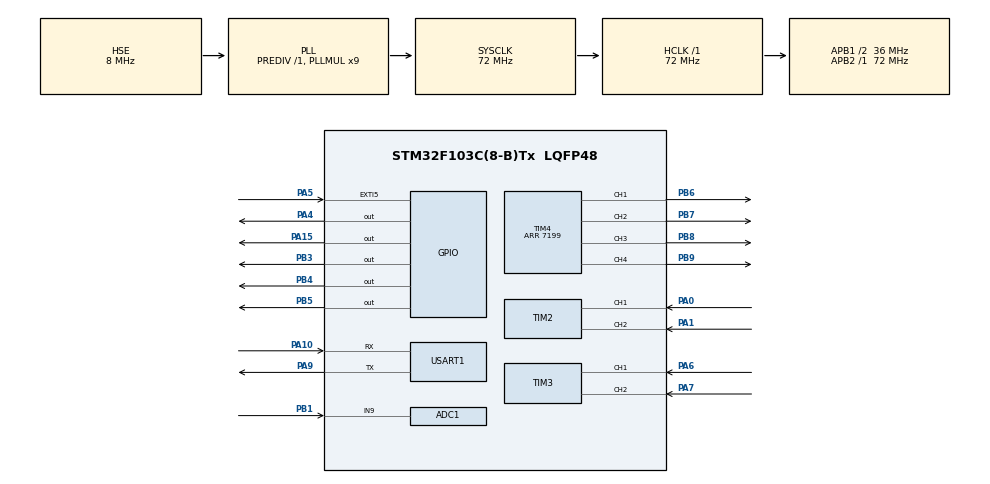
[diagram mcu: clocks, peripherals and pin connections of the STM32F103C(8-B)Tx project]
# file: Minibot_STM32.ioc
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ADC1.Channel-19\#ChannelRegularConversion=ADC_CHANNEL_9
ADC1.ContinuousConvMode=ENABLE
ADC1.EnableInjectedConversion=DISABLE
ADC1.EnableRegularConversion=ENABLE
ADC1.InjNumberOfConversion=0
ADC1.NbrOfConversion=1
ADC1.NbrOfConversionFlag=1
ADC1.Rank-19\#ChannelRegularConversion=1
ADC1.SamplingTime-19\#ChannelRegularConversion=ADC_SAMPLETIME_239CYCLES_5
ADC1.master=1
Dma.ADC1.2.Direction=DMA_PERIPH_TO_MEMORY
Dma.ADC1.2.Instance=DMA1_Channel1
Dma.ADC1.2.MemDataAlignment=DMA_MDATAALIGN_HALFWORD
Dma.ADC1.2.MemInc=DMA_MINC_ENABLE
Dma.ADC1.2.Mode=DMA_NORMAL
Dma.ADC1.2.PeriphDataAlignment=DMA_PDATAALIGN_HALFWORD
Dma.ADC1.2.PeriphInc=DMA_PINC_DISABLE
Dma.ADC1.2.Priority=DMA_PRIORITY_LOW
Dma.Request0=USART1_RX
Dma.Request1=USART1_TX
Dma.Request2=ADC1
Dma.USART1_RX.0.Direction=DMA_PERIPH_TO_MEMORY
Dma.USART1_RX.0.Instance=DMA1_Channel5
Dma.USART1_RX.0.MemDataAlignment=DMA_MDATAALIGN_BYTE
Dma.USART1_RX.0.MemInc=DMA_MINC_ENABLE
Dma.USART1_RX.0.Mode=DMA_NORMAL
Dma.USART1_RX.0.PeriphDataAlignment=DMA_PDATAALIGN_BYTE
Dma.USART1_RX.0.PeriphInc=DMA_PINC_DISABLE
Dma.USART1_RX.0.Priority=DMA_PRIORITY_VERY_HIGH
Dma.USART1_TX.1.Direction=DMA_MEMORY_TO_PERIPH
Dma.USART1_TX.1.Instance=DMA1_Channel4
Dma.USART1_TX.1.MemDataAlignment=DMA_MDATAALIGN_BYTE
Dma.USART1_TX.1.MemInc=DMA_MINC_ENABLE
Dma.USART1_TX.1.Mode=DMA_NORMAL
Dma.USART1_TX.1.PeriphDataAlignment=DMA_PDATAALIGN_BYTE
Dma.USART1_TX.1.PeriphInc=DMA_PINC_DISABLE
Dma.USART1_TX.1.Priority=DMA_PRIORITY_VERY_HIGH
IWDG.Prescaler=IWDG_PRESCALER_32
IWDG.Reload=625
Mcu.Family=STM32F1
Mcu.Name=STM32F103C(8-B)Tx
Mcu.Package=LQFP48
NVIC.DMA1_Channel1_IRQn=true\:0\:0\:false\:false\:true\:false\:true\:true
NVIC.DMA1_Channel4_IRQn=true\:0\:0\:false\:false\:true\:false\:true\:true
NVIC.DMA1_Channel5_IRQn=true\:0\:0\:false\:false\:true\:false\:true\:true
NVIC.EXTI9_5_IRQn=true\:10\:0\:true\:false\:true\:true\:true\:true
NVIC.PriorityGroup=NVIC_PRIORITYGROUP_4
NVIC.TIM1_UP_IRQn=true\:0\:0\:false\:false\:true\:true\:true\:true
NVIC.USART1_IRQn=true\:0\:0\:false\:false\:true\:true\:true\:true
PA0-WKUP.GPIO_PuPd=GPIO_PULLUP
PA0-WKUP.Signal=S_TIM2_CH1_ETR
PA1.GPIO_PuPd=GPIO_PULLUP
PA1.Signal=S_TIM2_CH2
PA10.Mode=Asynchronous
PA10.Signal=USART1_RX
PA13.Mode=Serial_Wire
PA13.Signal=SYS_JTMS-SWDIO
PA14.Mode=Serial_Wire
PA14.Signal=SYS_JTCK-SWCLK
PA15.GPIO_PuPd=GPIO_PULLUP
PA15.GPIO_Speed=GPIO_SPEED_FREQ_HIGH
PA15.PinState=GPIO_PIN_RESET
PA15.Signal=GPIO_Output
PA4.GPIO_PuPd=GPIO_PULLUP
PA4.GPIO_Speed=GPIO_SPEED_FREQ_HIGH
PA4.Signal=GPIO_Output
PA5.GPIO_PuPd=GPIO_NOPULL
PA5.Signal=GPXTI5
PA6.GPIO_PuPd=GPIO_PULLUP
PA6.Signal=S_TIM3_CH1
PA7.GPIO_PuPd=GPIO_PULLUP
PA7.Signal=S_TIM3_CH2
PA9.Mode=Asynchronous
PA9.Signal=USART1_TX
PB1.Signal=ADCx_IN9
PB3.GPIO_PuPd=GPIO_PULLUP
PB3.GPIO_Speed=GPIO_SPEED_FREQ_HIGH
PB3.PinState=GPIO_PIN_RESET
PB3.Signal=GPIO_Output
PB4.GPIO_PuPd=GPIO_PULLUP
PB4.GPIO_Speed=GPIO_SPEED_FREQ_HIGH
PB4.PinState=GPIO_PIN_RESET
PB4.Signal=GPIO_Output
PB5.GPIO_PuPd=GPIO_PULLUP
PB5.GPIO_Speed=GPIO_SPEED_FREQ_HIGH
PB5.PinState=GPIO_PIN_RESET
PB5.Signal=GPIO_Output
PB6.GPIO_Speed=GPIO_SPEED_FREQ_MEDIUM
PB6.Signal=S_TIM4_CH1
PB7.GPIO_Speed=GPIO_SPEED_FREQ_MEDIUM
PB7.Signal=S_TIM4_CH2
PB8.GPIO_Speed=GPIO_SPEED_FREQ_MEDIUM
PB8.Signal=S_TIM4_CH3
PB9.GPIO_Speed=GPIO_SPEED_FREQ_MEDIUM
PB9.Signal=S_TIM4_CH4
PC14-OSC32_IN.Mode=LSE-External-Oscillator
PC14-OSC32_IN.Signal=RCC_OSC32_IN
PC15-OSC32_OUT.Mode=LSE-External-Oscillator
PC15-OSC32_OUT.Signal=RCC_OSC32_OUT
PD0-OSC_IN.Mode=HSE-External-Oscillator
PD0-OSC_IN.Signal=RCC_OSC_IN
PD1-OSC_OUT.Mode=HSE-External-Oscillator
PD1-OSC_OUT.Signal=RCC_OSC_OUT
ProjectManager.HeapSize=0x200
ProjectManager.StackSize=0x400
ProjectManager.TargetToolchain=Makefile
RCC.ADCPresc=RCC_ADCPCLK2_DIV6
RCC.AHBFreq_Value=72000000
RCC.APB1CLKDivider=RCC_HCLK_DIV2
RCC.APB1Freq_Value=36000000
RCC.APB1TimFreq_Value=72000000
RCC.APB2Freq_Value=72000000
RCC.APB2TimFreq_Value=72000000
RCC.EnbaleCSS=true
RCC.HCLKFreq_Value=72000000
RCC.PLLMUL=RCC_PLL_MUL9
RCC.PLLSourceVirtual=RCC_PLLSOURCE_HSE
RCC.SYSCLKFreq_VALUE=72000000
RCC.SYSCLKSource=RCC_SYSCLKSOURCE_PLLCLK
RCC.USBFreq_Value=72000000
SH.ADCx_IN9.0=ADC1_IN9,IN9
SH.S_TIM2_CH1_ETR.0=TIM2_CH1,Encoder_Interface
SH.S_TIM2_CH2.0=TIM2_CH2,Encoder_Interface
SH.S_TIM3_CH1.0=TIM3_CH1,Encoder_Interface
SH.S_TIM3_CH2.0=TIM3_CH2,Encoder_Interface
SH.S_TIM4_CH1.0=TIM4_CH1,PWM Generation1 CH1
SH.S_TIM4_CH2.0=TIM4_CH2,PWM Generation2 CH2
SH.S_TIM4_CH3.0=TIM4_CH3,PWM Generation3 CH3
SH.S_TIM4_CH4.0=TIM4_CH4,PWM Generation4 CH4
TIM1.AutoReloadPreload=TIM_AUTORELOAD_PRELOAD_ENABLE
TIM2.AutoReloadPreload=TIM_AUTORELOAD_PRELOAD_ENABLE
TIM2.EncoderMode=TIM_ENCODERMODE_TI12
TIM3.AutoReloadPreload=TIM_AUTORELOAD_PRELOAD_ENABLE
TIM3.EncoderMode=TIM_ENCODERMODE_TI12
TIM4.AutoReloadPreload=TIM_AUTORELOAD_PRELOAD_ENABLE
TIM4.Channel-PWM\ Generation1\ CH1=TIM_CHANNEL_1
TIM4.Channel-PWM\ Generation2\ CH2=TIM_CHANNEL_2
TIM4.Channel-PWM\ Generation3\ CH3=TIM_CHANNEL_3
TIM4.Channel-PWM\ Generation4\ CH4=TIM_CHANNEL_4
TIM4.OCFastMode_PWM-PWM\ Generation1\ CH1=TIM_OCFAST_DISABLE
TIM4.OCFastMode_PWM-PWM\ Generation2\ CH2=TIM_OCFAST_DISABLE
TIM4.OCFastMode_PWM-PWM\ Generation3\ CH3=TIM_OCFAST_DISABLE
TIM4.OCFastMode_PWM-PWM\ Generation4\ CH4=TIM_OCFAST_DISABLE
TIM4.Period=7199
USART1.VirtualMode=VM_ASYNC
VP_IWDG_VS_IWDG.Mode=IWDG_Activate
VP_TIM1_VS_ClockSourceINT.Mode=Internal
board=custom

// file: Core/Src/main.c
/* USER CODE BEGIN Header */
/**
  ******************************************************************************
  * @file           : main.c
  * @brief          : Main program body
  ******************************************************************************
  * @attention
  *
  * Copyright (c) 2023 STMicroelectronics.
  * All rights reserved.
  *
  * This software is licensed under terms that can be found in the LICENSE file
  * in the root directory of this software component.
  * If no LICENSE file comes with this software, it is provided AS-IS.
  *
  ******************************************************************************
  */
/* USER CODE END Header */
#include "main.h"
#include "adc.h"
#include "dma.h"
#include "iwdg.h"
#include "tim.h"
#include "usart.h"
#include "gpio.h"

/* USER CODE BEGIN Includes */
#include "oled.h"
#include <stdbool.h>
/* USER CODE END Includes */

/* USER CODE BEGIN PTD */
typedef struct Motor_PID{
  const double P, I, D;
	double PWM, Last_Error, Previous_Error;
} Motor_PID;

void Incremental_PID (Motor_PID *motor_pid, const double *Encoder, const double *Target){
		double iError = *Target - *Encoder;
		motor_pid->PWM +=  (motor_pid->P * (iError - motor_pid->Last_Error)
										  + motor_pid->I * iError
										  + motor_pid->D * (iError - 2 * motor_pid->Last_Error + motor_pid->Previous_Error));
		motor_pid->Previous_Error = motor_pid->Last_Error;
		motor_pid->Last_Error = iError;
}

void limited_Pwm(Motor_PID *motor_pid){
    if(motor_pid->PWM<-7200) motor_pid->PWM=-7200;
		if(motor_pid->PWM>7200)  motor_pid->PWM=7200;
}

void Set_Pwm(const Motor_PID *motor_A, const Motor_PID *motor_B){
    	if(motor_A->PWM<0){
				__HAL_TIM_SetCompare(&htim4, TIM_CHANNEL_1, 7200);
			__HAL_TIM_SetCompare(&htim4, TIM_CHANNEL_2, 7200+motor_A->PWM);
			}
			else{
				__HAL_TIM_SetCompare(&htim4, TIM_CHANNEL_2, 7200);
			__HAL_TIM_SetCompare(&htim4, TIM_CHANNEL_1, 7200-motor_A->PWM);
			}

		  if(motor_B->PWM<0){
				__HAL_TIM_SetCompare(&htim4, TIM_CHANNEL_3, 7200);
			__HAL_TIM_SetCompare(&htim4, TIM_CHANNEL_4, 7200+motor_B->PWM);
			}
			else{
				__HAL_TIM_SetCompare(&htim4, TIM_CHANNEL_4, 7200);
			__HAL_TIM_SetCompare(&htim4, TIM_CHANNEL_3, 7200-motor_B->PWM);
			}
}

void oled_show(double current_rps[2], double target_rps[2], uint32_t *Voltage, bool flag){
													OLED_ShowString(00,20,"LT");
		if(target_rps[0]<0)	  OLED_ShowString(20,20,"-"),
		                      OLED_ShowNumber(35,20,-target_rps[0],3,12);
		else               		OLED_ShowString(20,20,"+"),
		                      OLED_ShowNumber(35,20,target_rps[0],3,12);

		                      OLED_ShowString(60,20,"LV");
		if(current_rps[0]<0)	OLED_ShowString(80,20,"-"),
		                      OLED_ShowNumber(95,20,-current_rps[0],3,12);
		else               		OLED_ShowString(80,20,"+"),
		                      OLED_ShowNumber(95,20,current_rps[0],3,12);

				                  OLED_ShowString(00,30,"RT");
		if(target_rps[1]<0)	  OLED_ShowString(20,30,"-"),
		                      OLED_ShowNumber(35,30,-target_rps[1],3,12);
		else               		OLED_ShowString(20,30,"+"),
		                      OLED_ShowNumber(35,30,target_rps[1],3,12);

		                      OLED_ShowString(60,30,"RV");
		if(current_rps[1]<0)	OLED_ShowString(80,30,"-"),
		                      OLED_ShowNumber(95,30,-current_rps[1],3,12);
		else               		OLED_ShowString(80,30,"+"),
		                      OLED_ShowNumber(95,30,current_rps[1],3,12);

		                      OLED_ShowString(00,40,"VOLTAGE");
													OLED_ShowString(78,40,".");
													OLED_ShowString(100,40,"V");
													OLED_ShowNumber(65,40,*Voltage/100,2,12);
													OLED_ShowNumber(88,40,*Voltage%100,2,12);
		if(*Voltage%100<10) 	  OLED_ShowNumber(82,40,0,2,12);

													OLED_ShowString(00,50,"Motor");
		if(flag)							OLED_ShowString(50,50,"O-N");
		else									OLED_ShowString(50,50,"OFF");

}
/* USER CODE END PTD */

void SystemClock_Config(void);

/* USER CODE BEGIN 0 */
static uint32_t tim1_count=0;
static uint16_t adcData=0;
static uint32_t Voltage=0;
static bool motor_flag=true, system_flag=true;
static double target_rps[2] = {0,0}, current_rps[2]={0,0};
static Motor_PID Motor_A = {.P=46,.I=46*10,.D=46/10,.PWM=0,.Last_Error=0,.Previous_Error=0};
static Motor_PID Motor_B = {.P=46,.I=46*10,.D=46/10,.PWM=0,.Last_Error=0,.Previous_Error=0};
/* USER CODE END 0 */

int main(void)
{

  /* MCU Configuration--------------------------------------------------------*/

  /* Reset of all peripherals, Initializes the Flash interface and the Systick. */
  HAL_Init();

  /* Configure the system clock */
  SystemClock_Config();

  /* Initialize all configured peripherals */
  MX_GPIO_Init();
  MX_DMA_Init();
  MX_TIM2_Init();
  MX_TIM3_Init();
  MX_TIM1_Init();
  MX_TIM4_Init();
  MX_USART1_UART_Init();
  MX_ADC1_Init();
  MX_IWDG_Init();
  /* USER CODE BEGIN 2 */
	OLED_Init();
	HAL_TIM_Encoder_Start(&htim2,TIM_CHANNEL_1 | TIM_CHANNEL_2);
	HAL_TIM_Encoder_Start(&htim3,TIM_CHANNEL_1 | TIM_CHANNEL_2);
	HAL_TIM_PWM_Start(&htim4,TIM_CHANNEL_1);
	HAL_TIM_PWM_Start(&htim4,TIM_CHANNEL_2);
	HAL_TIM_PWM_Start(&htim4,TIM_CHANNEL_3);
	HAL_TIM_PWM_Start(&htim4,TIM_CHANNEL_4);
	HAL_ADCEx_Calibration_Start(&hadc1);
	HAL_Delay(100);
	HAL_ADC_Start_DMA(&hadc1, (uint32_t*)&adcData,1);
	HAL_UART_Receive_DMA(&huart1, (uint8_t*)&target_rps, 16);
	HAL_TIM_Base_Start_IT(&htim1);
  /* USER CODE END 2 */

  /* Infinite loop */
  for(;;)
  {
		current_rps[0] =	(short)__HAL_TIM_GET_COUNTER(&htim2);
		current_rps[1] =	(short)__HAL_TIM_GET_COUNTER(&htim3);
		double Tmp = tim1_count*65536+ __HAL_TIM_GetCounter(&htim1);
		__HAL_TIM_SetCounter(&htim1,0);
		tim1_count = 0;
		Tmp = 72000000 / Tmp;
		current_rps[0] = current_rps[0] * Tmp / 1560;
		current_rps[1] = -current_rps[1]  * Tmp / 1560;
    __HAL_TIM_SET_COUNTER(&htim2, 0);
		__HAL_TIM_SET_COUNTER(&htim3, 0);
		HAL_UART_Transmit_DMA(&huart1, (uint8_t*)&current_rps, 16);
		if(motor_flag && system_flag){
			Incremental_PID (&Motor_A, &current_rps[0], &target_rps[0]);
			Incremental_PID (&Motor_B, &current_rps[1], &target_rps[1]);
			limited_Pwm(&Motor_A);limited_Pwm(&Motor_B);
			Set_Pwm(&Motor_A, &Motor_B);
		} else {
			Set_Pwm(&Motor_A, &Motor_B);
		}
		oled_show(current_rps, target_rps, &Voltage, motor_flag && system_flag);
		OLED_Refresh_Gram();
		HAL_IWDG_Refresh(&hiwdg);
		HAL_Delay(100);
  }
}

void SystemClock_Config(void)
{
  RCC_OscInitTypeDef RCC_OscInitStruct = {0};
  RCC_ClkInitTypeDef RCC_ClkInitStruct = {0};
  RCC_PeriphCLKInitTypeDef PeriphClkInit = {0};

  /** Initializes the RCC Oscillators according to the specified parameters
  * in the RCC_OscInitTypeDef structure.
  */
  RCC_OscInitStruct.OscillatorType = RCC_OSCILLATORTYPE_LSI|RCC_OSCILLATORTYPE_HSE;
  RCC_OscInitStruct.HSEState = RCC_HSE_ON;
  RCC_OscInitStruct.HSEPredivValue = RCC_HSE_PREDIV_DIV1;
  RCC_OscInitStruct.HSIState = RCC_HSI_ON;
  RCC_OscInitStruct.LSIState = RCC_LSI_ON;
  RCC_OscInitStruct.PLL.PLLState = RCC_PLL_ON;
  RCC_OscInitStruct.PLL.PLLSource = RCC_PLLSOURCE_HSE;
  RCC_OscInitStruct.PLL.PLLMUL = RCC_PLL_MUL9;
  if (HAL_RCC_OscConfig(&RCC_OscInitStruct) != HAL_OK)
  {
    Error_Handler();
  }

  /** Initializes the CPU, AHB and APB buses clocks
  */
  RCC_ClkInitStruct.ClockType = RCC_CLOCKTYPE_HCLK|RCC_CLOCKTYPE_SYSCLK
                              |RCC_CLOCKTYPE_PCLK1|RCC_CLOCKTYPE_PCLK2;
  RCC_ClkInitStruct.SYSCLKSource = RCC_SYSCLKSOURCE_PLLCLK;
  RCC_ClkInitStruct.AHBCLKDivider = RCC_SYSCLK_DIV1;
  RCC_ClkInitStruct.APB1CLKDivider = RCC_HCLK_DIV2;
  RCC_ClkInitStruct.APB2CLKDivider = RCC_HCLK_DIV1;

  if (HAL_RCC_ClockConfig(&RCC_ClkInitStruct, FLASH_LATENCY_2) != HAL_OK)
  {
    Error_Handler();
  }
  PeriphClkInit.PeriphClockSelection = RCC_PERIPHCLK_ADC;
  PeriphClkInit.AdcClockSelection = RCC_ADCPCLK2_DIV6;
  if (HAL_RCCEx_PeriphCLKConfig(&PeriphClkInit) != HAL_OK)
  {
    Error_Handler();
  }

  /** Enables the Clock Security System
  */
  HAL_RCC_EnableCSS();
}

/* USER CODE BEGIN 4 */
void HAL_TIM_PeriodElapsedCallback(TIM_HandleTypeDef *htim)
{
  if(htim == (&htim1))
  {
		++tim1_count;
  }
}

void HAL_UART_RxCpltCallback(UART_HandleTypeDef *huart) {
	if(huart==&huart1){
		HAL_UART_Receive_DMA(&huart1, (uint8_t*)&target_rps, 16);
	}
}

void HAL_ADC_ConvCpltCallback(ADC_HandleTypeDef* hadc) {
	Voltage = adcData*3.3*11*100/4096;
	motor_flag = Voltage > 1110;
	HAL_ADC_Start_DMA(&hadc1, (uint32_t*)&adcData,1);
}

void HAL_GPIO_EXTI_Callback(uint16_t GPIO_Pin){
	HAL_Delay(100);
	if(HAL_GPIO_ReadPin(GPIOA, GPIO_PIN_5) == GPIO_PIN_SET) {
			HAL_GPIO_TogglePin(GPIOA,GPIO_PIN_4);
			Motor_A.PWM=0;
			Motor_B.PWM=0;
			system_flag = !system_flag;
	}
}
/* USER CODE END 4 */

void Error_Handler(void)
{
  __disable_irq();
  while (1)
  {
  }
}
